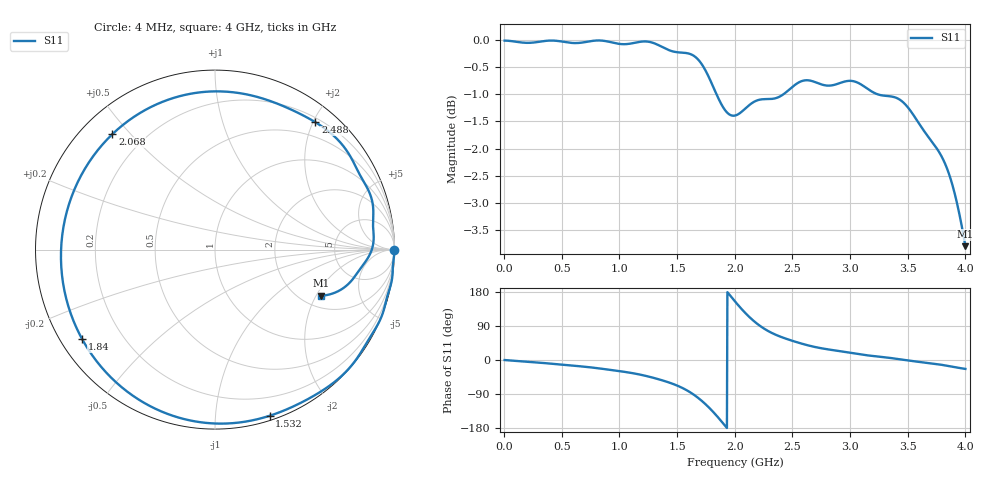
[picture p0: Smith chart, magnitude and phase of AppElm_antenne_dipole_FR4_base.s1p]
! TOUCHSTONE file generated by CST MICROWAVE STUDIO
! Date and time: Thu May 12 13:28:03 2022
! Project name: AppElm_antenne_dipole_FR4.cst
! Parameters = {e=0.035; f=2.45e+09; h=1.6; i=0.8; l1=15.31; L=29.58; lambda=122.449; ws=80; wl=1.7; ls=30}
! Header version: 2018
! Port assignment regex: !\s*Touchstone port\s*([0-9]+)\s*=\s*(CST MWS port|CST DS port)\s*([0-9]+|Zmin|Zmax)\s*\(\"(.*)\"\)(\s*mode\s*([0-9]+))?.*
! Touchstone port assignment:
! Touchstone port 1 = CST MWS port 1 ("")
# GHz S MA R 50
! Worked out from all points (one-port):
!   1000 points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, 4 MHz to 4 GHz, reference 50 ohm
!   lowest |S11| = -3.8 dB at 4 GHz (marker M1), VSWR 4.63, Z = 125 - j110 ohm
!   |S11| at or under -10 dB: nowhere
!   S11 on the Smith chart (normalised r, x): 4 MHz: open; 1.532 GHz: 0.04, -1.38; 1.84 GHz: 0.06, -0.30; 2.068 GHz: 0.09, +0.45; 2.488 GHz: 0.26, +2.03; 4 GHz: 2.51, -2.21
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0.004  0.9997 -0.1
0.504  0.9975 -12.4
0.796  0.9998 -21.1
1.004  0.9926 -29.5
1.156  0.9962 -37.1
1.268  0.9965 -44.9
1.396  0.9831 -56.0
1.504  0.9751 -68.0
1.532  0.9746 -71.8
1.632  0.9696 -88.9
1.704  0.9539 -105.3
1.772  0.9263 -124.2
1.84  0.8924 -146.2
1.884  0.8728 -161.7
1.924  0.8598 -176.5
1.964  0.8529 168.6
2.004  0.8522 153.8
2.068  0.8605 131.6
2.136  0.873 110.7
2.212  0.8812 91.5
2.328  0.8831 70.4
2.488  0.9035 51.7
2.504  0.9065 50.2
2.68  0.9164 35.4
3.004  0.9175 18.8
3.504  0.8664 -1.3
3.808  0.7756 -13.4
4  0.6451 -23.5
